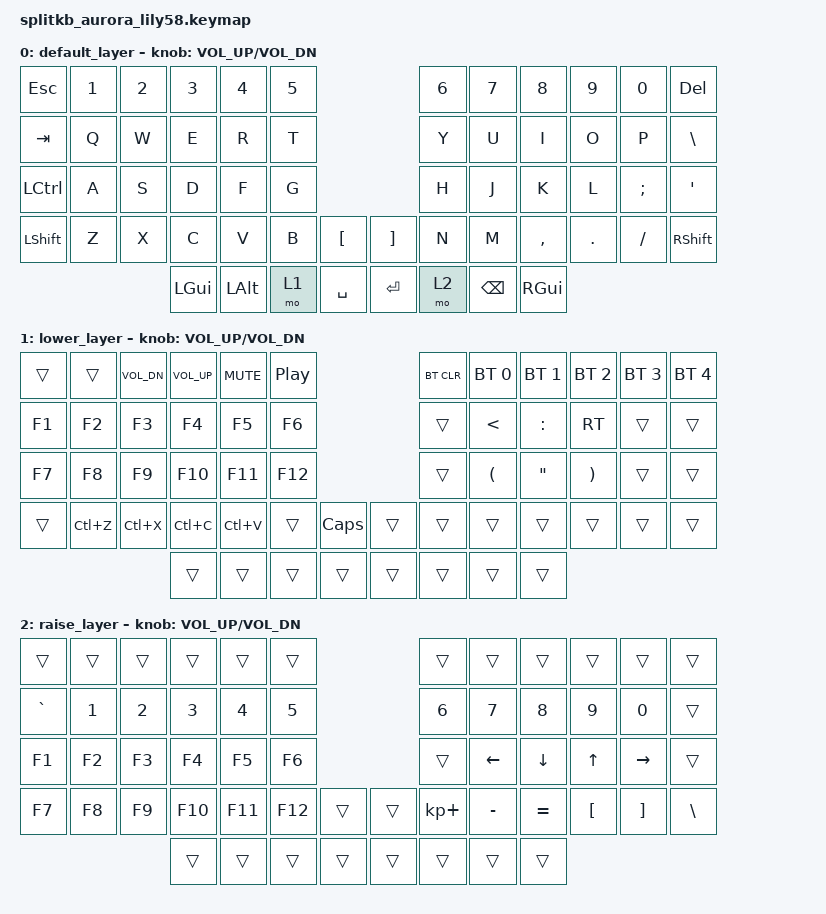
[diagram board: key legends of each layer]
/*
 * Copyright (c) 2020 The ZMK Contributors
 *
 * SPDX-License-Identifier: MIT
 */

#include <behaviors.dtsi>
#include <dt-bindings/zmk/keys.h>
#include <dt-bindings/zmk/bt.h>
#include <dt-bindings/zmk/ext_power.h>

/ {
    keymap {
        compatible = "zmk,keymap";

        default_layer {
// ------------------------------------------------------------------------------------------------------------
// |  ESC  |  1  |  2  |  3   |  4   |  5   |                   |  6   |  7    |  8    |  9   |   0   |   DEL   |
// |  TAB  |  Q  |  W  |  E   |  R   |  T   |                   |  Y   |  U    |  I    |  O   |   P   |   \   |
// |  CTRL |  A  |  S  |  D   |  F   |  G   |                   |  H   |  J    |  K    |  L   |   ;   |   '   |
// | SHIFT |  Z  |  X  |  C   |  V   |  B   |   "["  |  |  "]"  |  N   |  M    |  ,    |  .   |   /   | SHIFT |
//                     | GUI  | ALT  | LOWER|  SPACE |  | ENTER | RAISE| BSPC  | GUI   |
            bindings = <
&kp ESC   &kp N1 &kp N2 &kp N3   &kp N4   &kp N5                     &kp N6 &kp N7   &kp N8    &kp N9  &kp N0   &kp DEL
&kp TAB   &kp Q  &kp W  &kp E    &kp R    &kp T                      &kp Y  &kp U    &kp I     &kp O   &kp P    &kp BSLH
&kp LCTRL &kp A  &kp S  &kp D    &kp F    &kp G                      &kp H  &kp J    &kp K     &kp L   &kp SEMI &kp SQT
&kp LSHFT &kp Z  &kp X  &kp C    &kp V    &kp B  &kp LBKT   &kp RBKT &kp N  &kp M    &kp COMMA &kp DOT &kp FSLH &kp RSHFT
                        &kp LGUI &kp LALT &mo 1  &kp SPACE  &kp RET  &mo 2  &kp BSPC &kp RGUI
            >;

            sensor-bindings = <&inc_dec_kp C_VOL_UP C_VOL_DN>;
        };

        lower_layer {
// ------------------------------------------------------------------------------------------------------------
// |  ggVG |     | DOWN|  UP |  MUTE|  PLAY |                   | BTCLR | BT1 | BT2 |  BT3 |  BT4 |  BT5 |
// |  F1   |  F2 |  F3 |  F4  |  F5  |  F6  |                   |      |   <   |   :   |   >  |       |       |
// |  F7   |  F8 |  F9 |  F10 |  F11 |  F12 |                   |      |   (   |   "   |  )   |       |       |
// |   |  UNDO |  CUT | COPY | PASTE |   |  CAPS  |  |       |      |       |       |      |       |       |
//                     |      |      |      |        |  |       |      |       |       |
            bindings = <
&trans &trans &kp C_VOL_DN &kp C_VOL_UP &kp C_MUTE   &kp C_PP              &bt BT_CLR &bt BT_SEL 0 &bt BT_SEL 1 &bt BT_SEL 2 &bt BT_SEL 3 &bt BT_SEL 4
&kp F1     &kp F2           &kp F3            &kp F4            &kp F5       &kp F6                       &trans    &kp LT    &kp COLON &kp RT    &trans    &trans
&kp F7     &kp F8           &kp F9            &kp F10           &kp F11      &kp F12                      &trans    &kp LPAR  &kp DQT &kp RPAR  &trans    &trans
&trans     &kp LC(Z) &kp LC(X) &kp LC(C) &kp LC(V) &trans       &kp CAPS &trans    &trans    &trans &trans &trans &trans &trans
                                              &trans            &trans       &trans    &trans   &trans    &trans    &trans    &trans
            >;

            sensor-bindings = <&inc_dec_kp C_VOL_UP C_VOL_DN>;
        };

        raise_layer {
// ------------------------------------------------------------------------------------------------------------
// |       |     |     |      |      |      |                   |      |       |       |      |       |       |
// |   `   |  1  |  2  |  3   |  4   |  5   |                   |      |   b   |   ^   |   w   |       |       |
// |   F1  |  F2 |  F3 |  F4  |  F5  |  F6  |                   |  _   |   <-  |   v   |  ->  |       |       |
// |   F7  |  F8 |  F9 |  F10 |  F11 |  F12 |        |  |       |  +   |   -   |   =   |  [  |   ]   |   \   |
//                     |      |      |      |        |  |       |      |       |       |
            bindings = <
&trans    &trans &trans &trans  &trans  &trans                       &trans      &trans    &trans    &trans   &trans    &trans
&kp GRAVE &kp N1 &kp N2 &kp N3  &kp N4  &kp N5                       &kp N6      &kp N7    &kp N8    &kp N9   &kp N0    &trans
&kp F1    &kp F2 &kp F3 &kp F4  &kp F5  &kp F6                       &trans      &kp LEFT  &kp DOWN  &kp UP   &kp RIGHT &trans
&kp F7    &kp F8 &kp F9 &kp F10 &kp F11 &kp F12   &trans   &trans    &kp KP_PLUS &kp MINUS &kp EQUAL &kp LBKT &kp RBKT  &kp BSLH
                        &trans  &trans  &trans    &trans   &trans    &trans      &trans    &trans
            >;

            sensor-bindings = <&inc_dec_kp C_VOL_UP C_VOL_DN>;
        };
    };
};
